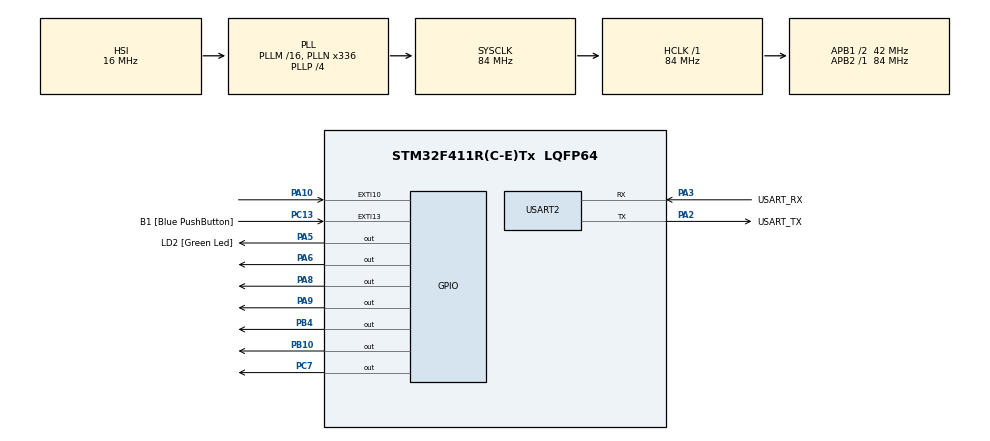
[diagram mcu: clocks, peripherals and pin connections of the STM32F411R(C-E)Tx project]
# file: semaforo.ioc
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Mcu.Family=STM32F4
Mcu.Name=STM32F411R(C-E)Tx
Mcu.Package=LQFP64
NVIC.EXTI15_10_IRQn=true\:0\:0\:false\:false\:true\:true\:true
NVIC.PriorityGroup=NVIC_PRIORITYGROUP_0
NVIC.TIM1_TRG_COM_TIM11_IRQn=true\:0\:0\:false\:false\:true\:true\:true
PA10.Signal=GPXTI10
PA13.GPIO_Label=TMS
PA13.Mode=Serial_Wire
PA13.Signal=SYS_JTMS-SWDIO
PA14.GPIO_Label=TCK
PA14.Mode=Serial_Wire
PA14.Signal=SYS_JTCK-SWCLK
PA2.GPIO_Label=USART_TX
PA2.Mode=Asynchronous
PA2.Signal=USART2_TX
PA3.GPIO_Label=USART_RX
PA3.Mode=Asynchronous
PA3.Signal=USART2_RX
PA5.GPIO_Label=LD2 [Green Led]
PA5.Signal=GPIO_Output
PA6.Signal=GPIO_Output
PA8.Signal=GPIO_Output
PA9.Signal=GPIO_Output
PB10.Signal=GPIO_Output
PB3.GPIO_Label=SWO
PB3.Signal=SYS_JTDO-SWO
PB4.Signal=GPIO_Output
PC13-ANTI_TAMP.GPIO_Label=B1 [Blue PushButton]
PC13-ANTI_TAMP.GPIO_ModeDefaultEXTI=GPIO_MODE_IT_FALLING
PC13-ANTI_TAMP.Signal=GPXTI13
PC14-OSC32_IN.Mode=LSE-External-Oscillator
PC14-OSC32_IN.Signal=RCC_OSC32_IN
PC15-OSC32_OUT.Mode=LSE-External-Oscillator
PC15-OSC32_OUT.Signal=RCC_OSC32_OUT
PC7.Signal=GPIO_Output
PH0\ -\ OSC_IN.Mode=HSE-External-Clock-Source
PH0\ -\ OSC_IN.Signal=RCC_OSC_IN
PH1\ -\ OSC_OUT.Mode=HSE-External-Clock-Source
PH1\ -\ OSC_OUT.Signal=RCC_OSC_OUT
ProjectManager.HeapSize=0x200
ProjectManager.StackSize=0x400
ProjectManager.TargetToolchain=Makefile
RCC.48MHZClocksFreq_Value=84000000
RCC.AHBFreq_Value=84000000
RCC.APB1CLKDivider=RCC_HCLK_DIV2
RCC.APB1Freq_Value=42000000
RCC.APB1TimFreq_Value=84000000
RCC.APB2Freq_Value=84000000
RCC.APB2TimFreq_Value=84000000
RCC.CortexFreq_Value=84000000
RCC.FLatency-AdvancedSettings=FLASH_LATENCY_2
RCC.HCLKFreq_Value=84000000
RCC.HSE_VALUE=8000000
RCC.HSI_VALUE=16000000
RCC.PLLN=336
RCC.PLLP=RCC_PLLP_DIV4
RCC.SYSCLKFreq_VALUE=84000000
RCC.SYSCLKSource=RCC_SYSCLKSOURCE_PLLCLK
RCC.VCOOutputFreq_Value=336000000
TIM11.Channel=TIM_CHANNEL_1
TIM11.Period=11
TIM11.Prescaler=89
USART2.VirtualMode=VM_ASYNC
VP_TIM11_VS_ClockSourceINT.Mode=Enable_Timer
VP_TIM11_VS_no_output1.Mode=Output Compare1 No Output
board=NUCLEO-F411RE

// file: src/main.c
/* USER CODE BEGIN Header */
/**
  ******************************************************************************
  * @file           : main.c
  * @brief          : Main program body
  ******************************************************************************
  * @attention
  *
  * <h2><center>&copy; Copyright (c) 2020 STMicroelectronics.
  * All rights reserved.</center></h2>
  *
  * This software component is licensed by ST under BSD 3-Clause license,
  * the "License"; You may not use this file except in compliance with the
  * License. You may obtain a copy of the License at:
  *                        opensource.org/licenses/BSD-3-Clause
  *
  ******************************************************************************
  */
/* USER CODE END Header */

#include "main.h"

TIM_HandleTypeDef htim11;

UART_HandleTypeDef huart2;

void SystemClock_Config(void);
static void MX_GPIO_Init(void);
static void MX_USART2_UART_Init(void);
static void MX_TIM11_Init(void);

/* USER CODE BEGIN 0 */
void cambio(void){
  GPIO_InitTypeDef GPIO_InitStruct = {0};
  GPIO_InitStruct.Pin = GPIO_PIN_6;
  GPIO_InitStruct.Mode = GPIO_MODE_INPUT;
  GPIO_InitStruct.Pull = GPIO_PULLDOWN;
  HAL_GPIO_Init(GPIOA, &GPIO_InitStruct);

}
void output(void){
  GPIO_InitTypeDef GPIO_InitStruct = {0};
  GPIO_InitStruct.Pin = GPIO_PIN_6;
  GPIO_InitStruct.Mode = GPIO_MODE_OUTPUT_PP;
  GPIO_InitStruct.Pull = GPIO_NOPULL;
  GPIO_InitStruct.Speed = GPIO_SPEED_FREQ_LOW;
  HAL_GPIO_Init(GPIOA, &GPIO_InitStruct);
}
int i;
uint32_t local_time, sensor_time,tinicio,tfinal,ttotal;
uint32_t distance;
uint64_t valor;
int estado=0;
void hcsr04_read (void)
{
	local_time=0;

	HAL_GPIO_WritePin(GPIOA, GPIO_PIN_6, GPIO_PIN_RESET);  // pull the TRIG pin HIGH
  HAL_Delay(50);
	HAL_GPIO_WritePin(GPIOA, GPIO_PIN_6, GPIO_PIN_SET);  // pull the TRIG pin HIGH
	HAL_Delay(50);  // wait for 10 us
	HAL_GPIO_WritePin(GPIOA, GPIO_PIN_6, GPIO_PIN_RESET);  // pull the TRIG pin low

	// read the time for which the pin is high

  //GPIOA->MODER &= ~(GPIO_MODER_MODER6);
  cambio();
	while (!(HAL_GPIO_ReadPin(GPIOA, GPIO_PIN_6)));
  tinicio=local_time;
	while (HAL_GPIO_ReadPin(GPIOA, GPIO_PIN_6));   // while the pin is high

    tfinal=local_time;

    //printf("%ld\n",local_time);

    ttotal=tfinal-tinicio;

}

/* USER CODE END 0 */

int main(void)
{

  /* MCU Configuration--------------------------------------------------------*/

  /* Reset of all peripherals, Initializes the Flash interface and the Systick. */
  HAL_Init();

  /* Configure the system clock */
  SystemClock_Config();

  /* Initialize all configured peripherals */
  MX_GPIO_Init();
  MX_USART2_UART_Init();
  MX_TIM11_Init();

  /* Infinite loop */
  /* USER CODE BEGIN WHILE */

  while (1)
  {
    HAL_TIM_Base_Start_IT(&htim11);

    /* USER CODE END WHILE */
    hcsr04_read();
    sensor_time = ttotal;

	  //distance  = (sensor_time * .034/2)*100;

    distance= (sensor_time * 10/58);
    //printf("la distancia es %ld\n",distance);
    HAL_Delay(2000);
    MX_GPIO_Init();

    if(distance<40){
      switch(estado){
      case 0:
        GPIOC->ODR |= GPIO_ODR_OD7_Msk;
        GPIOB->ODR |= GPIO_ODR_OD4_Msk;

        break;
      case 1:
        HAL_Delay(3000);
        GPIOC->BSRR = GPIO_BSRR_BR7;

        GPIOA->ODR |= GPIO_ODR_OD8_Msk;
        HAL_Delay(3000);
        GPIOB->BSRR = GPIO_BSRR_BR4;
        GPIOC->BSRR = GPIO_BSRR_BR7;
        GPIOA->ODR |= GPIO_ODR_OD9_Msk;
        GPIOB->ODR |= GPIO_ODR_OD10_Msk;
        GPIOA->BSRR = GPIO_BSRR_BR8;
        HAL_Delay(15000);

        GPIOB->BSRR = GPIO_BSRR_BR10;
        HAL_Delay(1000);
        GPIOB->BSRR = GPIO_BSRR_BS10;
        HAL_Delay(1000);
        GPIOB->BSRR = GPIO_BSRR_BR10;
        HAL_Delay(1000);
        GPIOB->BSRR = GPIO_BSRR_BS10;
        HAL_Delay(1000);
        GPIOB->BSRR = GPIO_BSRR_BR10;
        GPIOA->BSRR = GPIO_BSRR_BR9;
        estado=0;
        break;
        if((GPIOA->IDR & (1 << 10)) != 0)
          estado=0;
        break;
      }
    }else{
      switch(estado){
      case 0:
        GPIOC->ODR |= GPIO_ODR_OD7_Msk;
        GPIOB->ODR |= GPIO_ODR_OD4_Msk;

        break;
      case 1:
        GPIOC->BSRR = GPIO_BSRR_BR7;

        GPIOA->ODR |= GPIO_ODR_OD8_Msk;
        HAL_Delay(3000);
        GPIOB->BSRR = GPIO_BSRR_BR4;
        GPIOC->BSRR = GPIO_BSRR_BR7;
        GPIOA->ODR |= GPIO_ODR_OD9_Msk;
        GPIOB->ODR |= GPIO_ODR_OD10_Msk;
        GPIOA->BSRR = GPIO_BSRR_BR8;
        HAL_Delay(15000);

        GPIOB->BSRR = GPIO_BSRR_BR10;
        HAL_Delay(1000);
        GPIOB->BSRR = GPIO_BSRR_BS10;
        HAL_Delay(1000);
        GPIOB->BSRR = GPIO_BSRR_BR10;
        HAL_Delay(1000);
        GPIOB->BSRR = GPIO_BSRR_BS10;
        HAL_Delay(1000);
        GPIOB->BSRR = GPIO_BSRR_BR10;
        GPIOA->BSRR = GPIO_BSRR_BR9;
        estado=0;
        break;
        if((GPIOA->IDR & (1 << 10)) != 0)
          estado=0;
        break;
      }
    }

  }
}
void  HAL_GPIO_EXTI_Callback(uint16_t GPIO_Pin){
  if (GPIO_Pin==GPIO_PIN_10)
    estado=1;
}
void HAL_TIM_PeriodElapsedCallback(TIM_HandleTypeDef *htim){
    local_time++;
}

int __io_putchar(int ch)
{
  uint8_t c[1];
  c[0] = ch & 0x00FF;
  HAL_UART_Transmit(&huart2, &*c, 1, 100);
  return ch;
}

int _write(int file,char *ptr, int len)
{
  int DataIdx;
  for(DataIdx= 0; DataIdx< len; DataIdx++)
  {
    __io_putchar(*ptr++);
  }
  return len;
}
void SystemClock_Config(void)
{
  RCC_OscInitTypeDef RCC_OscInitStruct = {0};
  RCC_ClkInitTypeDef RCC_ClkInitStruct = {0};

  /** Configure the main internal regulator output voltage
  */
  __HAL_RCC_PWR_CLK_ENABLE();
  __HAL_PWR_VOLTAGESCALING_CONFIG(PWR_REGULATOR_VOLTAGE_SCALE1);
  /** Initializes the CPU, AHB and APB busses clocks
  */
  RCC_OscInitStruct.OscillatorType = RCC_OSCILLATORTYPE_HSI;
  RCC_OscInitStruct.HSIState = RCC_HSI_ON;
  RCC_OscInitStruct.HSICalibrationValue = RCC_HSICALIBRATION_DEFAULT;
  RCC_OscInitStruct.PLL.PLLState = RCC_PLL_ON;
  RCC_OscInitStruct.PLL.PLLSource = RCC_PLLSOURCE_HSI;
  RCC_OscInitStruct.PLL.PLLM = 16;
  RCC_OscInitStruct.PLL.PLLN = 336;
  RCC_OscInitStruct.PLL.PLLP = RCC_PLLP_DIV4;
  RCC_OscInitStruct.PLL.PLLQ = 4;
  if (HAL_RCC_OscConfig(&RCC_OscInitStruct) != HAL_OK)
  {
    Error_Handler();
  }
  /** Initializes the CPU, AHB and APB busses clocks
  */
  RCC_ClkInitStruct.ClockType = RCC_CLOCKTYPE_HCLK|RCC_CLOCKTYPE_SYSCLK
                              |RCC_CLOCKTYPE_PCLK1|RCC_CLOCKTYPE_PCLK2;
  RCC_ClkInitStruct.SYSCLKSource = RCC_SYSCLKSOURCE_PLLCLK;
  RCC_ClkInitStruct.AHBCLKDivider = RCC_SYSCLK_DIV1;
  RCC_ClkInitStruct.APB1CLKDivider = RCC_HCLK_DIV2;
  RCC_ClkInitStruct.APB2CLKDivider = RCC_HCLK_DIV1;

  if (HAL_RCC_ClockConfig(&RCC_ClkInitStruct, FLASH_LATENCY_2) != HAL_OK)
  {
    Error_Handler();
  }
}

static void MX_TIM11_Init(void)
{

  htim11.Instance = TIM11;
  htim11.Init.Prescaler = 84;
  htim11.Init.CounterMode = TIM_COUNTERMODE_UP;
  htim11.Init.Period = 10;
  htim11.Init.ClockDivision = TIM_CLOCKDIVISION_DIV1;
  //htim11.Init.AutoReloadPreload = TIM_AUTORELOAD_PRELOAD_DISABLE;
  if (HAL_TIM_Base_Init(&htim11) != HAL_OK)
  {
    Error_Handler();
  }

}

static void MX_USART2_UART_Init(void)
{

  huart2.Instance = USART2;
  huart2.Init.BaudRate = 115200;
  huart2.Init.WordLength = UART_WORDLENGTH_8B;
  huart2.Init.StopBits = UART_STOPBITS_1;
  huart2.Init.Parity = UART_PARITY_NONE;
  huart2.Init.Mode = UART_MODE_TX_RX;
  huart2.Init.HwFlowCtl = UART_HWCONTROL_NONE;
  huart2.Init.OverSampling = UART_OVERSAMPLING_16;
  if (HAL_UART_Init(&huart2) != HAL_OK)
  {
    Error_Handler();
  }

}

static void MX_GPIO_Init(void)
{
  GPIO_InitTypeDef GPIO_InitStruct = {0};

  /* GPIO Ports Clock Enable */
  __HAL_RCC_GPIOC_CLK_ENABLE();
  __HAL_RCC_GPIOH_CLK_ENABLE();
  __HAL_RCC_GPIOA_CLK_ENABLE();
  __HAL_RCC_GPIOB_CLK_ENABLE();

  /*Configure GPIO pin Output Level */
  HAL_GPIO_WritePin(GPIOA, LD2_Pin|GPIO_PIN_6|GPIO_PIN_8|GPIO_PIN_9, GPIO_PIN_RESET);

  /*Configure GPIO pin Output Level */
  HAL_GPIO_WritePin(GPIOB, GPIO_PIN_10|GPIO_PIN_4, GPIO_PIN_RESET);

  /*Configure GPIO pin Output Level */
  HAL_GPIO_WritePin(GPIOC, GPIO_PIN_7, GPIO_PIN_RESET);

  /*Configure GPIO pin : B1_Pin */
  GPIO_InitStruct.Pin = B1_Pin;
  GPIO_InitStruct.Mode = GPIO_MODE_IT_FALLING;
  GPIO_InitStruct.Pull = GPIO_NOPULL;
  HAL_GPIO_Init(B1_GPIO_Port, &GPIO_InitStruct);

  /*Configure GPIO pins : LD2_Pin PA6 PA8 PA9 */
  GPIO_InitStruct.Pin = LD2_Pin|GPIO_PIN_6|GPIO_PIN_8|GPIO_PIN_9;
  GPIO_InitStruct.Mode = GPIO_MODE_OUTPUT_PP;
  GPIO_InitStruct.Pull = GPIO_NOPULL;
  GPIO_InitStruct.Speed = GPIO_SPEED_FREQ_LOW;
  HAL_GPIO_Init(GPIOA, &GPIO_InitStruct);

  /*Configure GPIO pins : PB10 PB4 */
  GPIO_InitStruct.Pin = GPIO_PIN_10|GPIO_PIN_4;
  GPIO_InitStruct.Mode = GPIO_MODE_OUTPUT_PP;
  GPIO_InitStruct.Pull = GPIO_NOPULL;
  GPIO_InitStruct.Speed = GPIO_SPEED_FREQ_LOW;
  HAL_GPIO_Init(GPIOB, &GPIO_InitStruct);

  /*Configure GPIO pin : PC7 */
  GPIO_InitStruct.Pin = GPIO_PIN_7;
  GPIO_InitStruct.Mode = GPIO_MODE_OUTPUT_PP;
  GPIO_InitStruct.Pull = GPIO_NOPULL;
  GPIO_InitStruct.Speed = GPIO_SPEED_FREQ_LOW;
  HAL_GPIO_Init(GPIOC, &GPIO_InitStruct);

  /*Configure GPIO pin : PA10 */
  GPIO_InitStruct.Pin = GPIO_PIN_10;
  GPIO_InitStruct.Mode = GPIO_MODE_IT_RISING;
  GPIO_InitStruct.Pull = GPIO_NOPULL;
  HAL_GPIO_Init(GPIOA, &GPIO_InitStruct);

  /* EXTI interrupt init*/
  HAL_NVIC_SetPriority(EXTI15_10_IRQn, 0, 0);
  HAL_NVIC_EnableIRQ(EXTI15_10_IRQn);

}

void Error_Handler(void)
{
}

/************************ (C) COPYRIGHT STMicroelectronics *****END OF FILE****/
